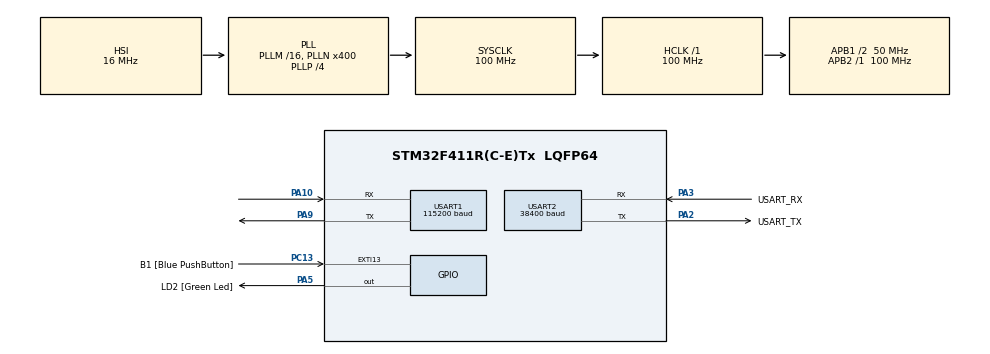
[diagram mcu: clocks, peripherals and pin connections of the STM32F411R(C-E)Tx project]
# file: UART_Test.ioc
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Mcu.Family=STM32F4
Mcu.Name=STM32F411R(C-E)Tx
Mcu.Package=LQFP64
NVIC.PriorityGroup=NVIC_PRIORITYGROUP_0
NVIC.USART1_IRQn=true\:0\:0\:false\:false\:true\:true
NVIC.USART2_IRQn=true\:0\:0\:false\:false\:true\:true
PA10.Mode=Asynchronous
PA10.Signal=USART1_RX
PA13.GPIO_Label=TMS
PA13.Mode=Serial_Wire
PA13.Signal=SYS_JTMS-SWDIO
PA14.GPIO_Label=TCK
PA14.Mode=Serial_Wire
PA14.Signal=SYS_JTCK-SWCLK
PA2.GPIO_Label=USART_TX
PA2.Mode=Asynchronous
PA2.Signal=USART2_TX
PA3.GPIO_Label=USART_RX
PA3.Mode=Asynchronous
PA3.Signal=USART2_RX
PA5.GPIO_Label=LD2 [Green Led]
PA5.Signal=GPIO_Output
PA9.Mode=Asynchronous
PA9.Signal=USART1_TX
PB3.GPIO_Label=SWO
PB3.Signal=SYS_JTDO-SWO
PC13-ANTI_TAMP.GPIO_Label=B1 [Blue PushButton]
PC13-ANTI_TAMP.GPIO_ModeDefaultEXTI=GPIO_MODE_IT_FALLING
PC13-ANTI_TAMP.Signal=GPXTI13
PC14-OSC32_IN.Mode=LSE-External-Oscillator
PC14-OSC32_IN.Signal=RCC_OSC32_IN
PC15-OSC32_OUT.Mode=LSE-External-Oscillator
PC15-OSC32_OUT.Signal=RCC_OSC32_OUT
PH0\ -\ OSC_IN.Mode=HSE-External-Clock-Source
PH0\ -\ OSC_IN.Signal=RCC_OSC_IN
PH1\ -\ OSC_OUT.Mode=HSE-External-Clock-Source
PH1\ -\ OSC_OUT.Signal=RCC_OSC_OUT
ProjectManager.HeapSize=0x200
ProjectManager.StackSize=0x400
ProjectManager.TargetToolchain=SW4STM32
RCC.48MHZClocksFreq_Value=100000000
RCC.AHBFreq_Value=100000000
RCC.APB1CLKDivider=RCC_HCLK_DIV2
RCC.APB1Freq_Value=50000000
RCC.APB1TimFreq_Value=100000000
RCC.APB2Freq_Value=100000000
RCC.APB2TimFreq_Value=100000000
RCC.CortexFreq_Value=100000000
RCC.FLatency-AdvancedSettings=FLASH_LATENCY_3
RCC.HCLKFreq_Value=100000000
RCC.HSE_VALUE=8000000
RCC.HSI_VALUE=16000000
RCC.PLLN=400
RCC.PLLP=RCC_PLLP_DIV4
RCC.SYSCLKFreq_VALUE=100000000
RCC.SYSCLKSource=RCC_SYSCLKSOURCE_PLLCLK
RCC.VCOOutputFreq_Value=400000000
USART1.BaudRate=115200
USART1.VirtualMode=VM_ASYNC
USART2.BaudRate=38400
USART2.Mode=MODE_TX_RX
USART2.VirtualMode=VM_ASYNC
board=NUCLEO-F411RE

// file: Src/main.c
/* USER CODE BEGIN Header */
/*   MIT License
*
*    Copyright (c) 2019 Timothy Pansino, Adam Behnke, Zachary Neumann, Mitchell Keeney
*
*    Permission is hereby granted, free of charge, to any person obtaining a copy
*    of this software and associated documentation files (the "Software"), to deal
*    in the Software without restriction, including without limitation the rights
*    to use, copy, modify, merge, publish, distribute, sublicense, and/or sell
*    copies of the Software, and to permit persons to whom the Software is
*    furnished to do so, subject to the following conditions:
*
*    The above copyright notice and this permission notice shall be included in all
*    copies or substantial portions of the Software.
*
*    THE SOFTWARE IS PROVIDED "AS IS", WITHOUT WARRANTY OF ANY KIND, EXPRESS OR
*    IMPLIED, INCLUDING BUT NOT LIMITED TO THE WARRANTIES OF MERCHANTABILITY,
*    FITNESS FOR A PARTICULAR PURPOSE AND NONINFRINGEMENT. IN NO EVENT SHALL THE
*    AUTHORS OR COPYRIGHT HOLDERS BE LIABLE FOR ANY CLAIM, DAMAGES OR OTHER
*    LIABILITY, WHETHER IN AN ACTION OF CONTRACT, TORT OR OTHERWISE, ARISING FROM,
*    OUT OF OR IN CONNECTION WITH THE SOFTWARE OR THE USE OR OTHER DEALINGS IN THE
*    SOFTWARE.
*/
/**
  ******************************************************************************
  * @file           : main.c
  * @brief          : Main program body
  ******************************************************************************
  ** This notice applies to any and all portions of this file
  * that are not between comment pairs USER CODE BEGIN and
  * USER CODE END. Other portions of this file, whether
  * inserted by the user or by software development tools
  * are owned by their respective copyright owners.
  *
  * COPYRIGHT(c) 2019 STMicroelectronics
  *
  * Redistribution and use in source and binary forms, with or without modification,
  * are permitted provided that the following conditions are met:
  *   1. Redistributions of source code must retain the above copyright notice,
  *      this list of conditions and the following disclaimer.
  *   2. Redistributions in binary form must reproduce the above copyright notice,
  *      this list of conditions and the following disclaimer in the documentation
  *      and/or other materials provided with the distribution.
  *   3. Neither the name of STMicroelectronics nor the names of its contributors
  *      may be used to endorse or promote products derived from this software
  *      without specific prior written permission.
  *
  * THIS SOFTWARE IS PROVIDED BY THE COPYRIGHT HOLDERS AND CONTRIBUTORS "AS IS"
  * AND ANY EXPRESS OR IMPLIED WARRANTIES, INCLUDING, BUT NOT LIMITED TO, THE
  * IMPLIED WARRANTIES OF MERCHANTABILITY AND FITNESS FOR A PARTICULAR PURPOSE ARE
  * DISCLAIMED. IN NO EVENT SHALL THE COPYRIGHT HOLDER OR CONTRIBUTORS BE LIABLE
  * FOR ANY DIRECT, INDIRECT, INCIDENTAL, SPECIAL, EXEMPLARY, OR CONSEQUENTIAL
  * DAMAGES (INCLUDING, BUT NOT LIMITED TO, PROCUREMENT OF SUBSTITUTE GOODS OR
  * SERVICES; LOSS OF USE, DATA, OR PROFITS; OR BUSINESS INTERRUPTION) HOWEVER
  * CAUSED AND ON ANY THEORY OF LIABILITY, WHETHER IN CONTRACT, STRICT LIABILITY,
  * OR TORT (INCLUDING NEGLIGENCE OR OTHERWISE) ARISING IN ANY WAY OUT OF THE USE
  * OF THIS SOFTWARE, EVEN IF ADVISED OF THE POSSIBILITY OF SUCH DAMAGE.
  *
  ******************************************************************************
  */
/* USER CODE END Header */

#include "main.h"

/* USER CODE BEGIN Includes */
#include <string.h>
#include <stdarg.h>
#include "drivers.h"
/* USER CODE END Includes */

UART_HandleTypeDef huart1;
UART_HandleTypeDef huart2;

/* USER CODE BEGIN PV */
char receiveBuffer[100];
char transmitBuffer[100];
char s[100];

char* newlineStr = NEWLINE_STR;
char* backSpace = BACKSPACE_STR;
char* hello_world = "Hello World!\n";

/* Used to store data received from the UART */
uint8_t receivedData = 0;

/* Current Location in receiveBuffer */
int currentLocation = 0;

/* Flag signaling completed reception of line of text */
int dataReceivedFlag = 0;
int new_message = 0;
/* USER CODE END PV */

void SystemClock_Config(void);
static void MX_GPIO_Init(void);
static void MX_USART2_UART_Init(void);
static void MX_USART1_UART_Init(void);
/* USER CODE BEGIN PFP */
void HAL_UART_RxCpltCallback(UART_HandleTypeDef * huart);
char* receiveString(void);
void transmitString(char * transmitData);
/* USER CODE END PFP */

int main(void)
{

  /* MCU Configuration--------------------------------------------------------*/

  /* Reset of all peripherals, Initializes the Flash interface and the Systick. */
  HAL_Init();

  /* Configure the system clock */
  SystemClock_Config();

  /* Initialize all configured peripherals */
  MX_GPIO_Init();
  MX_USART2_UART_Init();
  MX_USART1_UART_Init();
  /* USER CODE BEGIN 2 */
  Print(CLEAR_TERMINAL);
  Print("Uart Initialized.\n");
  /* USER CODE END 2 */

  /* Infinite loop */
  /* USER CODE BEGIN WHILE */
  while (1)
  {
	HAL_GPIO_WritePin(GPIOA, GPIO_PIN_5, 1);

	Print(">");
	receiveString();
	Print("Got: %s\n", receiveBuffer);

	HAL_GPIO_WritePin(GPIOA, GPIO_PIN_5, 0);
    /* USER CODE END WHILE */

  }
}

void SystemClock_Config(void)
{
  RCC_OscInitTypeDef RCC_OscInitStruct = {0};
  RCC_ClkInitTypeDef RCC_ClkInitStruct = {0};

  /**Configure the main internal regulator output voltage
  */
  __HAL_RCC_PWR_CLK_ENABLE();
  __HAL_PWR_VOLTAGESCALING_CONFIG(PWR_REGULATOR_VOLTAGE_SCALE1);
  /**Initializes the CPU, AHB and APB busses clocks
  */
  RCC_OscInitStruct.OscillatorType = RCC_OSCILLATORTYPE_HSI;
  RCC_OscInitStruct.HSIState = RCC_HSI_ON;
  RCC_OscInitStruct.HSICalibrationValue = RCC_HSICALIBRATION_DEFAULT;
  RCC_OscInitStruct.PLL.PLLState = RCC_PLL_ON;
  RCC_OscInitStruct.PLL.PLLSource = RCC_PLLSOURCE_HSI;
  RCC_OscInitStruct.PLL.PLLM = 16;
  RCC_OscInitStruct.PLL.PLLN = 400;
  RCC_OscInitStruct.PLL.PLLP = RCC_PLLP_DIV4;
  RCC_OscInitStruct.PLL.PLLQ = 4;
  if (HAL_RCC_OscConfig(&RCC_OscInitStruct) != HAL_OK)
  {
    Error_Handler();
  }
  /**Initializes the CPU, AHB and APB busses clocks
  */
  RCC_ClkInitStruct.ClockType = RCC_CLOCKTYPE_HCLK|RCC_CLOCKTYPE_SYSCLK
                              |RCC_CLOCKTYPE_PCLK1|RCC_CLOCKTYPE_PCLK2;
  RCC_ClkInitStruct.SYSCLKSource = RCC_SYSCLKSOURCE_PLLCLK;
  RCC_ClkInitStruct.AHBCLKDivider = RCC_SYSCLK_DIV1;
  RCC_ClkInitStruct.APB1CLKDivider = RCC_HCLK_DIV2;
  RCC_ClkInitStruct.APB2CLKDivider = RCC_HCLK_DIV1;

  if (HAL_RCC_ClockConfig(&RCC_ClkInitStruct, FLASH_LATENCY_3) != HAL_OK)
  {
    Error_Handler();
  }
}

static void MX_USART1_UART_Init(void)
{

  huart1.Instance = USART1;
  huart1.Init.BaudRate = 115200;
  huart1.Init.WordLength = UART_WORDLENGTH_8B;
  huart1.Init.StopBits = UART_STOPBITS_1;
  huart1.Init.Parity = UART_PARITY_NONE;
  huart1.Init.Mode = UART_MODE_TX_RX;
  huart1.Init.HwFlowCtl = UART_HWCONTROL_NONE;
  huart1.Init.OverSampling = UART_OVERSAMPLING_16;
  if (HAL_UART_Init(&huart1) != HAL_OK)
  {
    Error_Handler();
  }

}

static void MX_USART2_UART_Init(void)
{

  huart2.Instance = USART2;
  huart2.Init.BaudRate = 38400;
  huart2.Init.WordLength = UART_WORDLENGTH_8B;
  huart2.Init.StopBits = UART_STOPBITS_1;
  huart2.Init.Parity = UART_PARITY_NONE;
  huart2.Init.Mode = UART_MODE_TX_RX;
  huart2.Init.HwFlowCtl = UART_HWCONTROL_NONE;
  huart2.Init.OverSampling = UART_OVERSAMPLING_16;
  if (HAL_UART_Init(&huart2) != HAL_OK)
  {
    Error_Handler();
  }

}

static void MX_GPIO_Init(void)
{
  GPIO_InitTypeDef GPIO_InitStruct = {0};

  /* GPIO Ports Clock Enable */
  __HAL_RCC_GPIOC_CLK_ENABLE();
  __HAL_RCC_GPIOH_CLK_ENABLE();
  __HAL_RCC_GPIOA_CLK_ENABLE();
  __HAL_RCC_GPIOB_CLK_ENABLE();

  /*Configure GPIO pin Output Level */
  HAL_GPIO_WritePin(LD2_GPIO_Port, LD2_Pin, GPIO_PIN_RESET);

  /*Configure GPIO pin : B1_Pin */
  GPIO_InitStruct.Pin = B1_Pin;
  GPIO_InitStruct.Mode = GPIO_MODE_IT_FALLING;
  GPIO_InitStruct.Pull = GPIO_NOPULL;
  HAL_GPIO_Init(B1_GPIO_Port, &GPIO_InitStruct);

  /*Configure GPIO pin : LD2_Pin */
  GPIO_InitStruct.Pin = LD2_Pin;
  GPIO_InitStruct.Mode = GPIO_MODE_OUTPUT_PP;
  GPIO_InitStruct.Pull = GPIO_NOPULL;
  GPIO_InitStruct.Speed = GPIO_SPEED_FREQ_LOW;
  HAL_GPIO_Init(LD2_GPIO_Port, &GPIO_InitStruct);

}

/* USER CODE BEGIN 4 */

void HAL_UART_RxCpltCallback(UART_HandleTypeDef * huart)
{
    /* Move data into buffer */
    receiveBuffer[currentLocation] = receivedData;

    /* Variable to keep track of location in buffer */
    if (((char)receiveBuffer[currentLocation] == '\n') || ((char)receiveBuffer[currentLocation] == '\r')) {
        HAL_UART_Transmit(&huart1, (uint8_t*) newlineStr, 2, TIMEOUT);
        dataReceivedFlag = 1;
        receiveBuffer[currentLocation] = '\0';
        currentLocation = 0;
    }
    else if (((char)receiveBuffer[currentLocation] == 0x08) || ((char)receiveBuffer[currentLocation] == 0x7F)) {
    	if (currentLocation > 0) {
        	Print(backSpace);
        	receiveBuffer[currentLocation] = '\0';
    		currentLocation--;
    	}
    }
    else {
        HAL_UART_Transmit(&huart1, &receivedData, 1, TIMEOUT);
        currentLocation++;
    }
}

char * receiveString(void) {
    /* Listen for input; print back to screen when fully received */
    while (!dataReceivedFlag) {
        HAL_UART_Receive_IT(&huart1, &receivedData, 1);
    }
    dataReceivedFlag = 0;
    return receiveBuffer;
}

void transmitString(char * s) {
	//int size = 0;
	int i;

	//while(s[size] != '\0') size++;
	for (i = 0; s[i] != '\0'; i++) {
		if (s[i] == '\n') {
			HAL_UART_Transmit(&huart1, (uint8_t*) newlineStr, 2, TIMEOUT);
		}
		else if (s[i] != '\r' && s[i] != '\0') {
			HAL_UART_Transmit(&huart1, (uint8_t*) &s[i], 1, TIMEOUT);
		}
	}

	return;
}

void Print(const char* format, ...) {
  va_list args;
  va_start(args, format);
  vsprintf(transmitBuffer, format, args);
  transmitString(transmitBuffer);
  va_end(args);

  return;
}

void Scan(char* s) {
	receiveString();
	strcpy(s, receiveBuffer);

	return;
}
/* USER CODE END 4 */

void Error_Handler(void)
{
}

/************************ (C) COPYRIGHT STMicroelectronics *****END OF FILE****/
